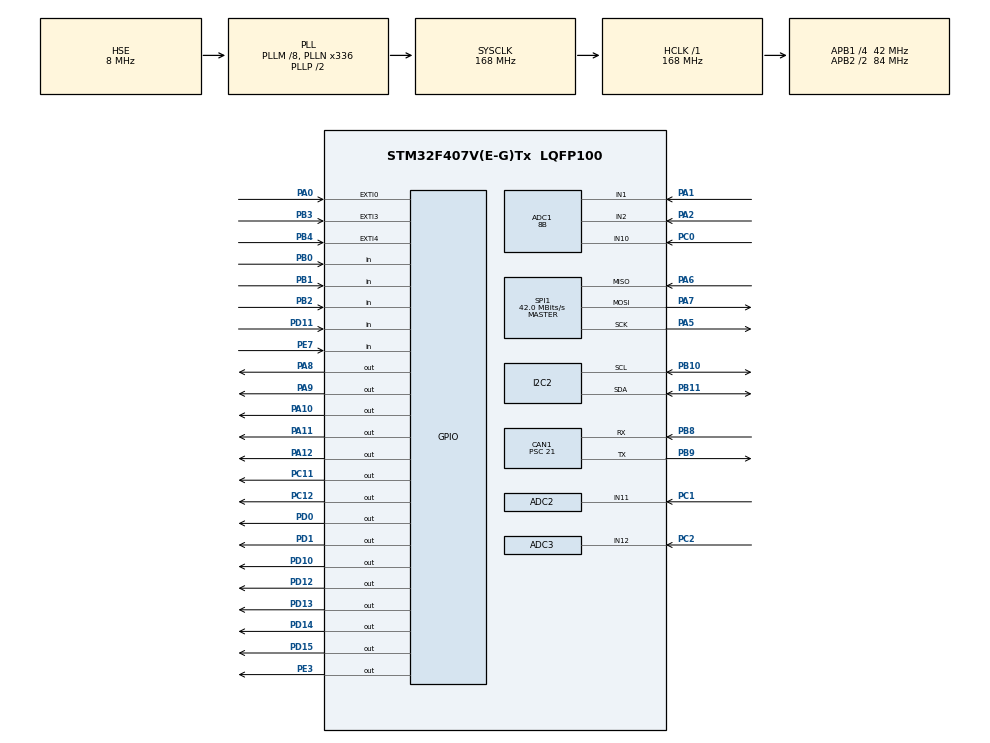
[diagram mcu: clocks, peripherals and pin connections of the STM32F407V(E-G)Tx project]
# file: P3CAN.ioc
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ADC1.Channel-0\#ChannelRegularConversion=ADC_CHANNEL_1
ADC1.ClockPrescaler=ADC_CLOCK_SYNC_PCLK_DIV4
ADC1.ContinuousConvMode=DISABLE
ADC1.DMAContinuousRequests=DISABLE
ADC1.DataAlign=ADC_DATAALIGN_RIGHT
ADC1.DiscontinuousConvMode=DISABLE
ADC1.EOCSelection=ADC_EOC_SINGLE_CONV
ADC1.EnableAnalogWatchDog=false
ADC1.ExternalTrigConv=ADC_SOFTWARE_START
ADC1.ExternalTrigConvEdge=ADC_EXTERNALTRIGCONVEDGE_NONE
ADC1.InjNumberOfConversion=0
ADC1.NbrOfConversion=1
ADC1.NbrOfConversionFlag=1
ADC1.Rank-0\#ChannelRegularConversion=1
ADC1.Resolution=ADC_RESOLUTION_8B
ADC1.SamplingTime-0\#ChannelRegularConversion=ADC_SAMPLETIME_28CYCLES
ADC1.ScanConvMode=DISABLE
ADC1.master=1
ADC2.Channel-0\#ChannelRegularConversion=ADC_CHANNEL_11
ADC2.NbrOfConversionFlag=1
ADC2.Rank-0\#ChannelRegularConversion=1
ADC2.SamplingTime-0\#ChannelRegularConversion=ADC_SAMPLETIME_3CYCLES
ADC3.Channel-0\#ChannelRegularConversion=ADC_CHANNEL_12
ADC3.NbrOfConversionFlag=1
ADC3.Rank-0\#ChannelRegularConversion=1
ADC3.SamplingTime-0\#ChannelRegularConversion=ADC_SAMPLETIME_3CYCLES
CAN1.BS1=CAN_BS1_12TQ
CAN1.BS2=CAN_BS2_4TQ
CAN1.CalculateTimeQuantum=500.0
CAN1.Prescaler=21
FREERTOS.INCLUDE_vTaskDelayUntil=1
FREERTOS.Mutexes01=mutex1,Dynamic,NULL
FREERTOS.Tasks01=Tarea1,0,128,StartTarea1,Default,NULL,Dynamic,NULL,NULL
Mcu.Family=STM32F4
Mcu.Name=STM32F407V(E-G)Tx
Mcu.Package=LQFP100
NVIC.CAN1_RX0_IRQn=true\:5\:0\:true\:false\:true\:true\:true
NVIC.EXTI0_IRQn=true\:0\:0\:true\:false\:true\:true\:true
NVIC.EXTI3_IRQn=true\:0\:0\:false\:false\:true\:false\:true
NVIC.I2C2_EV_IRQn=true\:0\:0\:false\:false\:true\:true\:true
NVIC.PriorityGroup=NVIC_PRIORITYGROUP_4
NVIC.TIM1_UP_TIM10_IRQn=true\:0\:0\:false\:false\:true\:false\:false
NVIC.TimeBase=TIM1_UP_TIM10_IRQn
NVIC.TimeBaseIP=TIM1
PA0-WKUP.Signal=GPXTI0
PA1.Signal=ADCx_IN1
PA10.Signal=GPIO_Output
PA11.Signal=GPIO_Output
PA12.Signal=GPIO_Output
PA2.Signal=ADCx_IN2
PA5.Mode=Full_Duplex_Master
PA5.Signal=SPI1_SCK
PA6.Mode=Full_Duplex_Master
PA6.Signal=SPI1_MISO
PA7.Mode=Full_Duplex_Master
PA7.Signal=SPI1_MOSI
PA8.Signal=GPIO_Output
PA9.Signal=GPIO_Output
PB0.Signal=GPIO_Input
PB1.Signal=GPIO_Input
PB10.Mode=I2C
PB10.Signal=I2C2_SCL
PB11.Mode=I2C
PB11.Signal=I2C2_SDA
PB2.Signal=GPIO_Input
PB3.Signal=GPXTI3
PB4.Signal=GPXTI4
PB8.Mode=Master
PB8.Signal=CAN1_RX
PB9.Mode=Master
PB9.Signal=CAN1_TX
PC0.Signal=ADCx_IN10
PC1.Signal=ADCx_IN11
PC11.Signal=GPIO_Output
PC12.Signal=GPIO_Output
PC2.Signal=ADCx_IN12
PD0.Signal=GPIO_Output
PD1.Signal=GPIO_Output
PD10.Signal=GPIO_Output
PD11.Signal=GPIO_Input
PD12.Signal=GPIO_Output
PD13.Signal=GPIO_Output
PD14.Signal=GPIO_Output
PD15.Signal=GPIO_Output
PE3.Signal=GPIO_Output
PE7.Signal=GPIO_Input
PH0-OSC_IN.Mode=HSE-External-Oscillator
PH0-OSC_IN.Signal=RCC_OSC_IN
PH1-OSC_OUT.Mode=HSE-External-Oscillator
PH1-OSC_OUT.Signal=RCC_OSC_OUT
ProjectManager.HeapSize=0x200
ProjectManager.StackSize=0x400
ProjectManager.TargetToolchain=MDK-ARM V5
RCC.48MHZClocksFreq_Value=48000000
RCC.AHBFreq_Value=168000000
RCC.APB1CLKDivider=RCC_HCLK_DIV4
RCC.APB1Freq_Value=42000000
RCC.APB1TimFreq_Value=84000000
RCC.APB2CLKDivider=RCC_HCLK_DIV2
RCC.APB2Freq_Value=84000000
RCC.APB2TimFreq_Value=168000000
RCC.CortexFreq_Value=168000000
RCC.HCLKFreq_Value=168000000
RCC.HSE_VALUE=8000000
RCC.HSI_VALUE=16000000
RCC.LSE_VALUE=32768
RCC.PLLM=8
RCC.PLLN=336
RCC.PLLQ=7
RCC.PLLSourceVirtual=RCC_PLLSOURCE_HSE
RCC.SYSCLKFreq_VALUE=168000000
RCC.SYSCLKSource=RCC_SYSCLKSOURCE_PLLCLK
RCC.VCOOutputFreq_Value=336000000
SH.ADCx_IN1.0=ADC1_IN1,IN1
SH.ADCx_IN10.0=ADC1_IN10,IN10
SH.ADCx_IN11.0=ADC2_IN11,IN11
SH.ADCx_IN12.0=ADC3_IN12,IN12
SH.ADCx_IN2.0=ADC1_IN2,IN2
SPI1.CalculateBaudRate=42.0 MBits/s
SPI1.Direction=SPI_DIRECTION_2LINES
SPI1.Mode=SPI_MODE_MASTER
SPI1.VirtualType=VM_MASTER
VP_FREERTOS_VS_ENABLE.Mode=Enabled
VP_SYS_VS_tim1.Mode=TIM1
board=STM32F4DISCOVERY

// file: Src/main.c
/* USER CODE BEGIN Header */
/**
  ******************************************************************************
  * @file           : main.c
  * @brief          : Main program body
  ******************************************************************************
  * This notice applies to any and all portions of this file
  * that are not between comment pairs USER CODE BEGIN and
  * USER CODE END. Other portions of this file, whether
  * inserted by the user or by software development tools
  * are owned by their respective copyright owners.
  *
  * Copyright (c) 2021 STMicroelectronics International N.V.
  * All rights reserved.
  *
  * Redistribution and use in source and binary forms, with or without
  * modification, are permitted, provided that the following conditions are met:
  *
  * 1. Redistribution of source code must retain the above copyright notice,
  *    this list of conditions and the following disclaimer.
  * 2. Redistributions in binary form must reproduce the above copyright notice,
  *    this list of conditions and the following disclaimer in the documentation
  *    and/or other materials provided with the distribution.
  * 3. Neither the name of STMicroelectronics nor the names of other
  *    contributors to this software may be used to endorse or promote products
  *    derived from this software without specific written permission.
  * 4. This software, including modifications and/or derivative works of this
  *    software, must execute solely and exclusively on microcontroller or
  *    microprocessor devices manufactured by or for STMicroelectronics.
  * 5. Redistribution and use of this software other than as permitted under
  *    this license is void and will automatically terminate your rights under
  *    this license.
  *
  * THIS SOFTWARE IS PROVIDED BY STMICROELECTRONICS AND CONTRIBUTORS "AS IS"
  * AND ANY EXPRESS, IMPLIED OR STATUTORY WARRANTIES, INCLUDING, BUT NOT
  * LIMITED TO, THE IMPLIED WARRANTIES OF MERCHANTABILITY, FITNESS FOR A
  * PARTICULAR PURPOSE AND NON-INFRINGEMENT OF THIRD PARTY INTELLECTUAL PROPERTY
  * RIGHTS ARE DISCLAIMED TO THE FULLEST EXTENT PERMITTED BY LAW. IN NO EVENT
  * SHALL STMICROELECTRONICS OR CONTRIBUTORS BE LIABLE FOR ANY DIRECT, INDIRECT,
  * INCIDENTAL, SPECIAL, EXEMPLARY, OR CONSEQUENTIAL DAMAGES (INCLUDING, BUT NOT
  * LIMITED TO, PROCUREMENT OF SUBSTITUTE GOODS OR SERVICES; LOSS OF USE, DATA,
  * OR PROFITS; OR BUSINESS INTERRUPTION) HOWEVER CAUSED AND ON ANY THEORY OF
  * LIABILITY, WHETHER IN CONTRACT, STRICT LIABILITY, OR TORT (INCLUDING
  * NEGLIGENCE OR OTHERWISE) ARISING IN ANY WAY OUT OF THE USE OF THIS SOFTWARE,
  * EVEN IF ADVISED OF THE POSSIBILITY OF SUCH DAMAGE.
  *
  ******************************************************************************
  */
/* USER CODE END Header */

#include "main.h"
#include "cmsis_os.h"
#include "adc.h"
#include "can.h"
#include "i2c.h"
#include "spi.h"
#include "gpio.h"

/* USER CODE BEGIN Includes */

#include "FreeRTOS.h"
#include "task.h"
#include <math.h>

/* USER CODE END Includes */

/* USER CODE BEGIN PTD */

  #define TRUE 1
  #define FALSE 0

/* USER CODE BEGIN Variables */

/*Prioridades de las Tareas Periodicas*/
#define PR_TAREA1 1
#define PR_TAREA2 2
#define PR_TAREA3 3
#define PR_TAREA4	4
#define PR_TAREA5 5
#define PR_TAREA6 6
/*Periodos de las tareas*/
#define T_TAREA1 200
#define T_TAREA2 300
#define T_TAREA3 300
#define T_TAREA4 200
#define T_TAREA5 400
#define T_TAREA6 200
#define LONG_TIME 0xffff

 /* USER CODE BEGIN RTOS_MUTEX */

   /*********************Semaforo 1*********************/ ;
   SemaphoreHandle_t Semaforo_1 = NULL;
	 SemaphoreHandle_t xSemaphore = NULL;

	// Semaforo para sincronizar tarea esporadica e interrupcion
	SemaphoreHandle_t Semaforo_Interrupcion = NULL;
	// Crear el sem�foro binario

	 /* Declarar aqu� las variables protegidas por el sem�foro 1 */
   double Altitud = 0; // Altitud
   double RX = 0; // Inclinacion eje X
   double RY = 0; // Inclinacion eje Y
	 double X,Y,Z;
	 double lastaltitud = 0;
	 double lastX = 0;
	 double lastY =  0;
	 double debugX =  0;
	 int vibraciones = 1;
	 int AltitudMotor = 0, RyMotor = 0 , RxMotor = 0;
	 int potenciaMotor = 0;
	CAN_TxHeaderTypeDef pHeader; //declare a specific header for message transmittions
	CAN_RxHeaderTypeDef pRxHeader; //declare header for message reception
	uint32_t TxMailbox;
	uint8_t ByteSent = 0; //declare byte to be transmitted //declare a receive byte
	uint8_t ByteReceived = 0; //declare a receive byte
	CAN_FilterTypeDef sFilterConfig; //declare CAN filter structure
   /* Tarea y mutex creados con CMSIS
   osThreadId Tarea1Handle;
   osMutexId mutex1Handle; */

/* USER CODE BEGIN FunctionPrototypes */
   void StartTarea1(void const * argument);
	 void startTarea2(void const * argument);
	 void startTarea3(void const * argument);
	 void startTarea4(void const * argument);
	 void startTarea5(void const * argument);
	 void startTarea6(void const * argument);
	 void startTarea7(void const * argument);
	 int checkVibration();
/* Variables para depuracion */
   int ContTarea1 = 0;
	 int altitud_objetivo = 600;
	 int start= 0;

void InicializaTransmisionesCAN(void) {

	pHeader.DLC=1; //give message size of 1 byte
	pHeader.IDE=CAN_ID_STD; //set identifier to standard
	pHeader.RTR=CAN_RTR_DATA; //set data type to remote transmission request?
	pHeader.StdId=0x2FF; //define a standard identifier, used for message identification by filters (##switch this for the other microcontroller##)

	//filter one (stack light blink)
	sFilterConfig.FilterFIFOAssignment=CAN_FILTER_FIFO0; //set fifo assignment
	sFilterConfig.FilterIdHigh=0x2F4<<5; //the ID that the filter looks for (##switch this for the other microcontroller##)
	sFilterConfig.FilterIdLow=0;
	sFilterConfig.FilterMaskIdHigh=0;
	sFilterConfig.FilterMaskIdLow=0;
	sFilterConfig.FilterScale=CAN_FILTERSCALE_32BIT; //set filter scale
	sFilterConfig.FilterActivation=ENABLE;

	HAL_CAN_ConfigFilter(&hcan1, &sFilterConfig); //configure CAN filter

	HAL_CAN_Start(&hcan1); //start CAN
	HAL_CAN_ActivateNotification(&hcan1, CAN_IT_RX_FIFO0_MSG_PENDING); //enable interrupts
}

void Obtain_Coordinates_XYZ()
/* Calculate acc. coordinates and stores them in global variables X Y Z */
{
int Ix, Iy, Iz;
uint8_t Ix1, Ix2;
uint8_t Iy1, Iy2;
uint8_t Iz1, Iz2;
Ix1 = SPI_Read (0x28);
Ix2 = SPI_Read (0x29);
Ix = (Ix2 << 8) + Ix1;
if (Ix >= 0x8000) Ix = -(65536 - Ix);
X = Ix/16384.0;
Iy1 = SPI_Read (0x2A);
Iy2 = SPI_Read (0x2B);
Iy = (Iy2 << 8) + Iy1;
if (Iy >= 0x8000) Iy = -(65536 - Iy);
Y = Iy/16384.0;
Iz1 = SPI_Read (0x2C);
Iz2 = SPI_Read (0x2D);
Iz = (Iz2 << 8) + Iz1;
if (Iz >= 0x8000) Iz = -(65536 - Iz);
Z = Iz/16384.0;
}
double Calculate_RotationX ()
{
double rotX;
Obtain_Coordinates_XYZ();
rotX = atan2(Y, sqrt(X*X+Z*Z)) * 180.0/3.1416;
return rotX;
}
double Calculate_RotationY ()
{
double rotY;
Obtain_Coordinates_XYZ();
rotY = - atan2(X, sqrt(Y*Y+Z*Z)) * 180.0/3.1416;
return rotY;
}

void Potencia(int potencia){
     switch (potencia) {

        case 5:
						HAL_GPIO_WritePin(GPIOA, GPIO_PIN_8, GPIO_PIN_RESET);
				    HAL_GPIO_WritePin(GPIOA, GPIO_PIN_9, GPIO_PIN_RESET);
				    HAL_GPIO_WritePin(GPIOA, GPIO_PIN_10, GPIO_PIN_RESET);
				    HAL_GPIO_WritePin(GPIOD, GPIO_PIN_1, GPIO_PIN_RESET);
				    HAL_GPIO_WritePin(GPIOD, GPIO_PIN_0, GPIO_PIN_RESET);
            break;
        case 4:
						HAL_GPIO_WritePin(GPIOA, GPIO_PIN_9, GPIO_PIN_RESET);
						HAL_GPIO_WritePin(GPIOA, GPIO_PIN_8, GPIO_PIN_RESET);
						HAL_GPIO_WritePin(GPIOA, GPIO_PIN_10, GPIO_PIN_SET);
						HAL_GPIO_WritePin(GPIOD, GPIO_PIN_1, GPIO_PIN_RESET);
						HAL_GPIO_WritePin(GPIOD, GPIO_PIN_0, GPIO_PIN_RESET);
            break;
			 case 3:
						HAL_GPIO_WritePin(GPIOA, GPIO_PIN_10, GPIO_PIN_SET);
						HAL_GPIO_WritePin(GPIOA, GPIO_PIN_9, GPIO_PIN_SET);
				 	  HAL_GPIO_WritePin(GPIOA, GPIO_PIN_8, GPIO_PIN_RESET);
						HAL_GPIO_WritePin(GPIOD, GPIO_PIN_1, GPIO_PIN_RESET);
						HAL_GPIO_WritePin(GPIOD, GPIO_PIN_0, GPIO_PIN_RESET);
            break;
        case 2:
						HAL_GPIO_WritePin(GPIOA, GPIO_PIN_10, GPIO_PIN_SET);
						HAL_GPIO_WritePin(GPIOA, GPIO_PIN_9, GPIO_PIN_SET);
				 	  HAL_GPIO_WritePin(GPIOA, GPIO_PIN_8, GPIO_PIN_SET);
						HAL_GPIO_WritePin(GPIOD, GPIO_PIN_1, GPIO_PIN_RESET);
						HAL_GPIO_WritePin(GPIOD, GPIO_PIN_0, GPIO_PIN_RESET);
            break;
        case 1:
						HAL_GPIO_WritePin(GPIOA, GPIO_PIN_10, GPIO_PIN_SET);
						HAL_GPIO_WritePin(GPIOA, GPIO_PIN_9, GPIO_PIN_SET);
				 	  HAL_GPIO_WritePin(GPIOA, GPIO_PIN_8, GPIO_PIN_SET);
						HAL_GPIO_WritePin(GPIOD, GPIO_PIN_1, GPIO_PIN_SET);
						HAL_GPIO_WritePin(GPIOD, GPIO_PIN_0, GPIO_PIN_RESET);
            break;
				case 0:
						HAL_GPIO_WritePin(GPIOA, GPIO_PIN_8, GPIO_PIN_SET);
				    HAL_GPIO_WritePin(GPIOA, GPIO_PIN_9, GPIO_PIN_SET);
				    HAL_GPIO_WritePin(GPIOA, GPIO_PIN_10, GPIO_PIN_SET);
				    HAL_GPIO_WritePin(GPIOD, GPIO_PIN_1, GPIO_PIN_SET);
				    HAL_GPIO_WritePin(GPIOD, GPIO_PIN_0, GPIO_PIN_SET);
						break;

}}

void M1on(void){
	HAL_GPIO_WritePin(GPIOD, GPIO_PIN_13, GPIO_PIN_SET);
}
void M1off(void){
	HAL_GPIO_WritePin(GPIOD, GPIO_PIN_13, GPIO_PIN_RESET);
}
void M2on(void){
	HAL_GPIO_WritePin(GPIOD, GPIO_PIN_15, GPIO_PIN_SET);
}
void M2off(void){
	HAL_GPIO_WritePin(GPIOD, GPIO_PIN_15, GPIO_PIN_RESET);
}
void M3on(void){
	HAL_GPIO_WritePin(GPIOD, GPIO_PIN_12, GPIO_PIN_SET);
}
void M3off(void){
	HAL_GPIO_WritePin(GPIOD, GPIO_PIN_12, GPIO_PIN_RESET);
}
void M4on(void){
	HAL_GPIO_WritePin(GPIOD, GPIO_PIN_14, GPIO_PIN_SET);
}
void M4off(void){
	HAL_GPIO_WritePin(GPIOD, GPIO_PIN_14, GPIO_PIN_RESET);
}

void Allon(void){
	M1on();
	M2on();
	M3on();
	M4on();
}

void Alloff(void){
  M1off();
	M2off();
	M3off();
	M4off();
}
void L1on(void){
	HAL_GPIO_WritePin(GPIOC, GPIO_PIN_14, GPIO_PIN_SET);
}
void L1off(void){
	HAL_GPIO_WritePin(GPIOC, GPIO_PIN_14, GPIO_PIN_RESET);
}
void L2on(void){
	HAL_GPIO_WritePin(GPIOC, GPIO_PIN_13, GPIO_PIN_SET);
}
void L2off(void){
	HAL_GPIO_WritePin(GPIOC, GPIO_PIN_13, GPIO_PIN_RESET);
}
void sent(uint8_t bs){
	ByteSent = bs;
	HAL_CAN_AddTxMessage(&hcan1, &pHeader, &ByteSent, &TxMailbox);
}
enum estado_t {STANDBY, INCL_OK, ADJUSTING, ALTITUD ,STOP};
enum estado_t estado = STANDBY;

void Xfor(void){
	xSemaphoreTake( xSemaphore, portMAX_DELAY);
	switch(estado){
		case STANDBY:
			estado = STANDBY;
			break;
		case INCL_OK:
			estado = ADJUSTING;
			M1on();
			M2off();
			sent(2);
			break;
		case ADJUSTING:
			estado = ADJUSTING;
			M1on();
			M2off();
			sent(2);
			break;
		case ALTITUD:
			estado = ADJUSTING;
			M1on();
			M2off();
			sent(2);
			break;
		case STOP:
			estado = STOP;
			break;
}
xSemaphoreGive( xSemaphore );

}

void Xback(void){
	xSemaphoreTake( xSemaphore, portMAX_DELAY);
	switch(estado){
		case STANDBY:
			estado = STANDBY;
			break;
		case INCL_OK:
			estado = ADJUSTING;
			M2on();
			M1off();
			sent(1);
			break;
		case ADJUSTING:
			estado = ADJUSTING;
			M2on();
			M1off();
			sent(1);
			break;
		case ALTITUD:
			estado = ADJUSTING;
			M2on();
			M1off();
			sent(1);
			break;
		case STOP:
			estado = STOP;
			break;
	}
xSemaphoreGive( xSemaphore );

}
void X0(void){
	xSemaphoreTake( xSemaphore, portMAX_DELAY);
	switch(estado){
		case STANDBY:
			estado = STANDBY;
			break;
		case INCL_OK:
			estado = INCL_OK;
			M2off();
			M1off();
			sent(3);
			break;
		case ADJUSTING:
			estado = INCL_OK;
			M2off();
			M1off();
			sent(3);
			break;
		case ALTITUD:
			estado = ALTITUD;
			break;
		case STOP:
			estado = STOP;
			break;
	}
xSemaphoreGive( xSemaphore );

}

void Yfor(void){
	xSemaphoreTake( xSemaphore, portMAX_DELAY);
	switch(estado){
		case STANDBY:
			estado = STANDBY;
			break;
		case INCL_OK:
			estado = ADJUSTING;
			M3on();
			M4off();
			sent(5);
			break;
		case ADJUSTING:
			estado = ADJUSTING;
			M3on();
			M4off();
			sent(5);
			break;
		case ALTITUD:
			estado = ADJUSTING;
			M3on();
			M4off();
			sent(5);
			break;
		case STOP:
			estado = STOP;
			break;
	}
xSemaphoreGive( xSemaphore );

}

void Yback(void){
	xSemaphoreTake( xSemaphore, portMAX_DELAY);
	switch(estado){
		case STANDBY:
			estado = STANDBY;
			break;
		case INCL_OK:
			estado = ADJUSTING;
			M4on();
			M3off();
			sent(4);
			break;
		case ADJUSTING:
			estado = ADJUSTING;
			M4on();
			M3off();
			sent(4);
			break;
		case ALTITUD:
			estado = ADJUSTING;
			M4on();
			M3off();
			sent(4);
			break;
		case STOP:
			estado = STOP;
			break;
	}
xSemaphoreGive( xSemaphore );

}
void Y0(void){
	xSemaphoreTake( xSemaphore, portMAX_DELAY);
	switch(estado){
		case STANDBY:
			estado = STANDBY;
			break;
		case INCL_OK:
			estado = INCL_OK;
			M4off();
			M3off();
			sent(6);
			break;
		case ADJUSTING:
			estado = INCL_OK;
			M4off();
			M3off();
			sent(6);
			break;
		case ALTITUD:
			estado = ALTITUD;
			break;
		case STOP:
			estado = STOP;
			break;
	}
xSemaphoreGive( xSemaphore );

}
void Altok(void){
	xSemaphoreTake( xSemaphore, portMAX_DELAY);
	switch(estado){
		case STANDBY:
			estado = STANDBY;
			break;
		case INCL_OK:
			estado = INCL_OK;
			break;
		case ADJUSTING:
			estado = ADJUSTING;
			break;
		case ALTITUD:
			estado = INCL_OK;
			M1off();
			M2off();
			M4off();
			M3off();
			sent(7);
			break;
		case STOP:
			estado = STOP;
			break;
	}
xSemaphoreGive( xSemaphore );

}
void Ascend(void){
	xSemaphoreTake( xSemaphore, portMAX_DELAY);
		switch(estado){
		case STANDBY:
			estado = STANDBY;
			break;
		case INCL_OK:
			estado = ALTITUD;
			M1on();
			M2on();
			M3on();
			M4on();
			sent(8);
			break;
		case ALTITUD:
			estado = ALTITUD;
			M1on();
			M2on();
			M3on();
			M4on();
			sent(8);
			break;
		case ADJUSTING:
			estado = ADJUSTING;
			break;
		case STOP:
			estado = STOP;
			break;
	}
xSemaphoreGive( xSemaphore );

}

void Risk(void){
	xSemaphoreTake( xSemaphore, portMAX_DELAY);
	switch(estado){
		case STANDBY:
			estado = STANDBY;
			break;
		case INCL_OK:
			estado = STOP;
			M1off();
			M2off();
			M4off();
			M3off();
			L2on();
			L1off();
			sent(9);
			break;
		case ALTITUD:
			estado = STOP;
			M1off();
			M2off();
			M4off();
			M3off();
			L2on();
			L1off();
			sent(9);
			break;
		case ADJUSTING:
			estado = STOP;
			M1off();
			M2off();
			M4off();
			M3off();
			L2on();
			L1off();
			sent(9);
			break;
		case STOP:
			estado = STOP;
			M1off();
			M2off();
			M4off();
			M3off();
			L2on();
			L1off();
			sent(9);
			break;
	}
xSemaphoreGive( xSemaphore );

}
void Recover(void){
	xSemaphoreTake( xSemaphore, portMAX_DELAY);
		switch(estado){
		case STANDBY:
			estado = STANDBY;
			break;
		case INCL_OK:
			estado = INCL_OK;
			break;
		case ALTITUD:
			estado = ALTITUD;
			break;
		case ADJUSTING:
			estado = ADJUSTING;
			break;
		case STOP:
			estado = STANDBY;
			L2off();
			sent(10);
			break;
	}
	xSemaphoreGive( xSemaphore );

}
void Wait(void){
	xSemaphoreTake( xSemaphore, portMAX_DELAY);
		switch(estado){
		case STANDBY:
			estado = STANDBY;
			break;
		case INCL_OK:
			estado = STANDBY;
			M1off();
			M2off();
			M4off();
			M3off();
			L1off();
			start=0;
			sent(11);
			break;
		case ALTITUD:
			estado = STANDBY;
			M1off();
			M2off();
			M4off();
			M3off();
			L1off();
			start=0;
			sent(11);
			break;
		case ADJUSTING:
			estado = STANDBY;
			M1off();
			M2off();
			M4off();
			M3off();
			L1off();
			start=0;
			sent(11);
			break;
		case STOP:
			estado = STOP;
			break;
	}
		xSemaphoreGive( xSemaphore );
}

void Start(void){
	xSemaphoreTake( xSemaphore, portMAX_DELAY);
	switch(estado){
		case STANDBY:
			start = 1;
			estado = INCL_OK;
			L1on();
			sent(12);
			break;
		case INCL_OK:
			estado = ADJUSTING;
			break;
		case ALTITUD:
			estado = ALTITUD;
			break;
		case ADJUSTING:
			estado = ADJUSTING;
			break;
		case STOP:
			estado = STOP;
			break;
	}
	xSemaphoreGive( xSemaphore );

}

/* USER CODE END FunctionPrototypes */

void SystemClock_Config(void);

int main(void)
{
  /* Reset of all peripherals, Initializes the Flash interface and the Systick. */
  HAL_Init();

  /* Configure the system clock */
  SystemClock_Config();

  /* Initialize all configured peripherals */
  MX_GPIO_Init();
  MX_ADC1_Init();
  MX_SPI1_Init();
  MX_CAN1_Init();
  MX_ADC2_Init();
  MX_ADC3_Init();
  MX_I2C2_Init();
	HAL_GPIO_WritePin(GPIOD, GPIO_PIN_0, GPIO_PIN_SET);
  /* USER CODE BEGIN Init */
	InicializaTransmisionesCAN();
  Inicializa_Acelerometro();
  /* USER CODE END Init */
	xSemaphore = xSemaphoreCreateMutex();
  Semaforo_Interrupcion = xSemaphoreCreateBinary();
  /* Create the mutex using CMSIS
  osMutexDef(mutex1);
  mutex1Handle = osMutexCreate(osMutex(mutex1)); */

  /* Create the thread using CMSIS
  osThreadDef(Tarea1, StartTarea1, osPriorityNormal, 0, 128);
  Tarea1Handle = osThreadCreate(osThread(Tarea1), NULL); */

  /* USER CODE BEGIN RTOS_THREADS using FreeRTOS */
  xTaskCreate(StartTarea1, "Tarea inicial", configMINIMAL_STACK_SIZE, NULL, PR_TAREA1, NULL);
	xTaskCreate(startTarea2, "Tarea inicial 2", configMINIMAL_STACK_SIZE, NULL, PR_TAREA2, NULL);
  xTaskCreate(startTarea3, "Tarea inicial 3", configMINIMAL_STACK_SIZE, NULL, PR_TAREA3, NULL);
	xTaskCreate(startTarea4, "Tarea inicial 4", configMINIMAL_STACK_SIZE, NULL, PR_TAREA4, NULL);
	xTaskCreate(startTarea5, "Tarea inicial 5", configMINIMAL_STACK_SIZE, NULL, PR_TAREA5, NULL);
	xTaskCreate(startTarea7, "Tarea inicial 7", configMINIMAL_STACK_SIZE, NULL, PR_TAREA6, NULL);
  /* Start scheduler */
  osKernelStart();

  /* We should never get here as control is now taken by the scheduler */
  while (1) {
  }

}   /* main END */

/* USER CODE StartTarea1 */

void StartTarea1(void const * argument)
{
  /* USER CODE BEGIN StartTarea1 */

	 TickType_t lastWakeTime;
   lastWakeTime = xTaskGetTickCount();

  /* Infinite loop */
  for(;;)
  {
		ContTarea1 ++;
		RX = Calculate_RotationX();
		RY = Calculate_RotationY();
    // osDelay(1);
		vTaskDelayUntil(&lastWakeTime, pdMS_TO_TICKS(T_TAREA1));
  }
  /* USER CODE END 5 */

  /* USER CODE END StartTarea1 */
}

void startTarea2(void const * argument)
{

	TickType_t lastWakeTime;
  lastWakeTime = xTaskGetTickCount();
	int Lectura_ADC1 = 0; //Valor leido
/* Inicializa canal 1 del ADC1 */
ADC_ChannelConfTypeDef sConfigN = {0}; // Variable local en la tarea
sConfigN.Channel = ADC_CHANNEL_1; // selecciona el canal 1
sConfigN.Rank = 1;
sConfigN.SamplingTime = ADC_SAMPLETIME_28CYCLES;
HAL_ADC_ConfigChannel(&hadc1, &sConfigN); // configura ADC1-Canal_1
for(;;)
{// Activaci�n de la lectura
HAL_ADC_Start(&hadc1); // comienza la convers�n AD
if(HAL_ADC_PollForConversion(&hadc1, 5) == HAL_OK){
Lectura_ADC1 = HAL_ADC_GetValue(&hadc1); // leemos el valor
Altitud = Lectura_ADC1; // actualizamos una variable global }
vTaskDelayUntil( &lastWakeTime, pdMS_TO_TICKS( T_TAREA2 ));
}
}}

void startTarea3(void const * argument){
	TickType_t lastWakeTime;
  lastWakeTime = xTaskGetTickCount();
/* 8 y 9 X  10 y 11 para Y  */
for(;;){
if (Altitud < altitud_objetivo){
	/* HAL_GPIO_WritePin(GPIOD, GPIO_PIN_1, GPIO_PIN_RESET);
  HAL_GPIO_WritePin(GPIOA, GPIO_PIN_8, GPIO_PIN_RESET);
	HAL_GPIO_WritePin(GPIOA, GPIO_PIN_9, GPIO_PIN_RESET);
	HAL_GPIO_WritePin(GPIOA, GPIO_PIN_10, GPIO_PIN_RESET);

	potencia(5*floor(1-(Altitud/ altitud_objetivo)))*/
		Ascend();
		Potencia(floor(5*(1-(Altitud/ altitud_objetivo))));
}else{
	/*HAL_GPIO_WritePin(GPIOD, GPIO_PIN_1, GPIO_PIN_SET);
	HAL_GPIO_WritePin(GPIOA, GPIO_PIN_8, GPIO_PIN_SET);
	HAL_GPIO_WritePin(GPIOA, GPIO_PIN_9, GPIO_PIN_SET);
	HAL_GPIO_WritePin(GPIOA, GPIO_PIN_10, GPIO_PIN_SET); */

	Altok();
}
vTaskDelayUntil( &lastWakeTime, pdMS_TO_TICKS( T_TAREA2 ));
}

}

void startTarea4(void const * argument){
	TickType_t lastWakeTime;
  lastWakeTime = xTaskGetTickCount();
for(;;){
if (RX < -10.0){
	Xback();

}else if(RX > 10.0 ){
	Xfor();

}else{
	X0();

}

if (RY < -10.0){
	Yback();
}else if(RY > 10.0 ){
	Yfor();

}else{
	Y0();

}

vTaskDelayUntil( &lastWakeTime, pdMS_TO_TICKS( T_TAREA4 ));
}
}

void startTarea5(void const * argument){
  TickType_t lastWakeTime;
  lastWakeTime = xTaskGetTickCount();
  for(;;){
  // Obtain_Coordinates_XYZ();
    debugX=X - lastX;
  if(X - lastX > 0.2 || X - lastX < -0.2 || Y - lastY > 0.2 || Y - lastY < -0.2 || Z - lastaltitud > 0.2 || Z - lastaltitud < -0.2 ){
    vibraciones = vibraciones + 1;
    if( vibraciones == 3){
        Risk();
    }
  } else{
    vibraciones = 0;
  }
  lastaltitud = Z;
  lastX = X ;
  lastY =  Y ;
    vTaskDelayUntil( &lastWakeTime, pdMS_TO_TICKS( T_TAREA5 ));
  }
}

// enum estado_t {STANDBY, INCL_OK, ADJUSTING, STOP};

// enum estado_t estado = estado_t.STANDBY;

void startTarea7(void const * argument){
	TickType_t lastWakeTime;
  lastWakeTime = xTaskGetTickCount();

	for(;;){
	xSemaphoreTake(Semaforo_Interrupcion, portMAX_DELAY);
	//HAL_GPIO_TogglePin(GPIOC, GPIO_PIN_14);
		if(start == 0){Start();}else {Wait();}
	}

}

void HAL_GPIO_EXTI_Callback(uint16_t GPIO_Pin) {
	long yield = pdFALSE;
// se pondr� a pdTRUE si una tarea de mayor prioridad estaba esperando y es desbloqueada
  if (GPIO_Pin == GPIO_PIN_0) {
	//HAL_GPIO_TogglePin(GPIOC, GPIO_PIN_13); // Enciende/apaga un LED
	xSemaphoreGiveFromISR(Semaforo_Interrupcion, &yield);
	portYIELD_FROM_ISR(yield);
	// para que FreeRTOS haga un cambio de contexto al terminar la ISR
	}
	if (GPIO_Pin == GPIO_PIN_3) {
		//	HAL_GPIO_TogglePin(GPIOC, GPIO_PIN_15); // Enciende/apaga un LED
			xSemaphoreGiveFromISR(Semaforo_Interrupcion, &yield);
			portYIELD_FROM_ISR(yield);
			// para que FreeRTOS haga un cambio de contexto al terminar la ISR

	}

}

void SystemClock_Config(void)
{
  RCC_OscInitTypeDef RCC_OscInitStruct = {0};
  RCC_ClkInitTypeDef RCC_ClkInitStruct = {0};

  /**Configure the main internal regulator output voltage
  */
  __HAL_RCC_PWR_CLK_ENABLE();
  __HAL_PWR_VOLTAGESCALING_CONFIG(PWR_REGULATOR_VOLTAGE_SCALE1);
  /**Initializes the CPU, AHB and APB busses clocks
  */
  RCC_OscInitStruct.OscillatorType = RCC_OSCILLATORTYPE_HSE;
  RCC_OscInitStruct.HSEState = RCC_HSE_ON;
  RCC_OscInitStruct.PLL.PLLState = RCC_PLL_ON;
  RCC_OscInitStruct.PLL.PLLSource = RCC_PLLSOURCE_HSE;
  RCC_OscInitStruct.PLL.PLLM = 8;
  RCC_OscInitStruct.PLL.PLLN = 336;
  RCC_OscInitStruct.PLL.PLLP = RCC_PLLP_DIV2;
  RCC_OscInitStruct.PLL.PLLQ = 7;
  if (HAL_RCC_OscConfig(&RCC_OscInitStruct) != HAL_OK)
  {
    Error_Handler();
  }
  /**Initializes the CPU, AHB and APB busses clocks
  */
  RCC_ClkInitStruct.ClockType = RCC_CLOCKTYPE_HCLK|RCC_CLOCKTYPE_SYSCLK
                              |RCC_CLOCKTYPE_PCLK1|RCC_CLOCKTYPE_PCLK2;
  RCC_ClkInitStruct.SYSCLKSource = RCC_SYSCLKSOURCE_PLLCLK;
  RCC_ClkInitStruct.AHBCLKDivider = RCC_SYSCLK_DIV1;
  RCC_ClkInitStruct.APB1CLKDivider = RCC_HCLK_DIV4;
  RCC_ClkInitStruct.APB2CLKDivider = RCC_HCLK_DIV2;

  if (HAL_RCC_ClockConfig(&RCC_ClkInitStruct, FLASH_LATENCY_5) != HAL_OK)
  {
    Error_Handler();
  }
}

void HAL_TIM_PeriodElapsedCallback(TIM_HandleTypeDef *htim)
{
  if (htim->Instance == TIM1) {
    HAL_IncTick();
  }
}

void Error_Handler(void)
{
}

/************************ (C) COPYRIGHT STMicroelectronics *****END OF FILE****/

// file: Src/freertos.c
/* USER CODE BEGIN Header */
/**
  ******************************************************************************
  * File Name          : freertos.c
  * Description        : Code for freertos applications
  ******************************************************************************
  * This notice applies to any and all portions of this file
  * that are not between comment pairs USER CODE BEGIN and
  * USER CODE END. Other portions of this file, whether
  * inserted by the user or by software development tools
  * are owned by their respective copyright owners.
  *
  * Copyright (c) 2021 STMicroelectronics International N.V.
  * All rights reserved.
  *
  * Redistribution and use in source and binary forms, with or without
  * modification, are permitted, provided that the following conditions are met:
  *
  * 1. Redistribution of source code must retain the above copyright notice,
  *    this list of conditions and the following disclaimer.
  * 2. Redistributions in binary form must reproduce the above copyright notice,
  *    this list of conditions and the following disclaimer in the documentation
  *    and/or other materials provided with the distribution.
  * 3. Neither the name of STMicroelectronics nor the names of other
  *    contributors to this software may be used to endorse or promote products
  *    derived from this software without specific written permission.
  * 4. This software, including modifications and/or derivative works of this
  *    software, must execute solely and exclusively on microcontroller or
  *    microprocessor devices manufactured by or for STMicroelectronics.
  * 5. Redistribution and use of this software other than as permitted under
  *    this license is void and will automatically terminate your rights under
  *    this license.
  *
  * THIS SOFTWARE IS PROVIDED BY STMICROELECTRONICS AND CONTRIBUTORS "AS IS"
  * AND ANY EXPRESS, IMPLIED OR STATUTORY WARRANTIES, INCLUDING, BUT NOT
  * LIMITED TO, THE IMPLIED WARRANTIES OF MERCHANTABILITY, FITNESS FOR A
  * PARTICULAR PURPOSE AND NON-INFRINGEMENT OF THIRD PARTY INTELLECTUAL PROPERTY
  * RIGHTS ARE DISCLAIMED TO THE FULLEST EXTENT PERMITTED BY LAW. IN NO EVENT
  * SHALL STMICROELECTRONICS OR CONTRIBUTORS BE LIABLE FOR ANY DIRECT, INDIRECT,
  * INCIDENTAL, SPECIAL, EXEMPLARY, OR CONSEQUENTIAL DAMAGES (INCLUDING, BUT NOT
  * LIMITED TO, PROCUREMENT OF SUBSTITUTE GOODS OR SERVICES; LOSS OF USE, DATA,
  * OR PROFITS; OR BUSINESS INTERRUPTION) HOWEVER CAUSED AND ON ANY THEORY OF
  * LIABILITY, WHETHER IN CONTRACT, STRICT LIABILITY, OR TORT (INCLUDING
  * NEGLIGENCE OR OTHERWISE) ARISING IN ANY WAY OUT OF THE USE OF THIS SOFTWARE,
  * EVEN IF ADVISED OF THE POSSIBILITY OF SUCH DAMAGE.
  *
  ******************************************************************************
  */
/* USER CODE END Header */

#include "FreeRTOS.h"
#include "task.h"
#include "main.h"
#include "cmsis_os.h"

/* USER CODE BEGIN Includes */

#include "spi.h"

/* USER CODE END Includes */

/* USER CODE BEGIN PTD */
  #define TRUE 1
  #define FALSE 0
/* USER CODE END PTD */

void MX_FREERTOS_Init(void); /* (MISRA C 2004 rule 8.1) */

void MX_FREERTOS_Init(void) {

}  // end of MX_FREERTOS_Init

/* funciones para inicializar acelerometro y leer puerto SPI */

/************************ (C) COPYRIGHT STMicroelectronics *****END OF FILE****/
